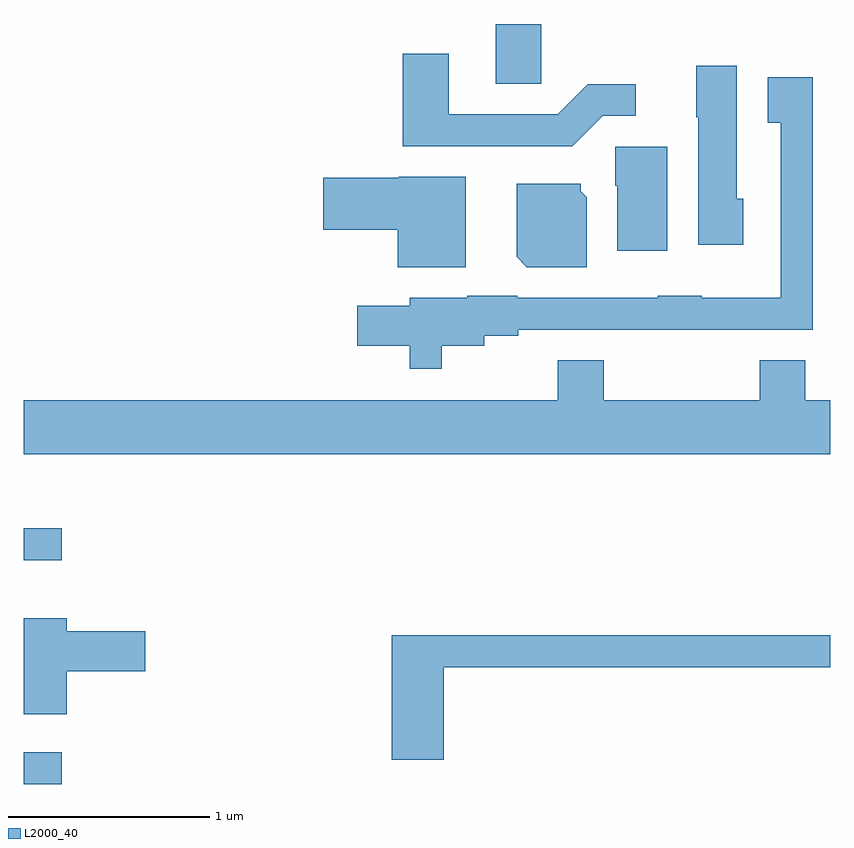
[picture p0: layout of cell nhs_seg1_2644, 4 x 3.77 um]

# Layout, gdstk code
import gdstk
lib = gdstk.Library(unit=1e-6, precision=1e-09)
def R(c, l, rs):  # rectangles x0, y0, x1, y1
    for r in rs: c.add(gdstk.rectangle(r[:2], r[2:], *l))
def P(c, l, *ps):  # polygons
    for p in ps: c.add(gdstk.Polygon(p, *l))
L2000_40 = (2000, 40)

nhs_seg1_2644 = lib.new_cell('nhs_seg1_2644')
R(nhs_seg1_2644, L2000_40, [(265.611,897.941,265.798,898.099), (265.611,899.051,265.798,899.209), (267.951,901.416,268.179,901.712)])
P(nhs_seg1_2644, L2000_40, [(268.482,901.256),(268.648,901.256),(268.648,901.414),(268.409,901.414),(268.259,901.264),(267.719,901.264),(267.719,901.564),(267.491,901.564),(267.491,901.106),(268.332,901.106)],
  [(269.179,900.844),(269.149,900.844),(269.149,901.504),(268.946,901.504),(268.946,901.25),(268.956,901.25),(268.956,900.616),(269.179,900.616)],
  [(267.684,900.116),(267.894,900.116),(267.894,900.166),(268.064,900.166),(268.064,900.196),(269.524,900.196),(269.524,901.449),(269.301,901.449),(269.301,901.221),(269.366,901.221),(269.366,900.354),(268.975,900.354),(268.975,900.364),(268.755,900.364),(268.755,900.354),(268.06,900.354),(268.06,900.364),(267.81,900.364),(267.81,900.354),(267.526,900.354),(267.526,900.314),(267.266,900.314),(267.266,900.116),(267.526,900.116),(267.526,900.001),(267.684,900.001)],
  [(268.804,901.104),(268.546,901.104),(268.546,900.91),(268.556,900.91),(268.556,900.586),(268.804,900.586)],
  [(267.804,900.954),(267.47,900.954),(267.47,900.949),(267.096,900.949),(267.096,900.691),(267.466,900.691),(267.466,900.506),(267.804,900.506)],
  [(268.404,900.852),(268.374,900.882),(268.374,900.919),(268.056,900.919),(268.056,900.557),(268.107,900.506),(268.404,900.506)],
  [(269.611,899.844),(269.489,899.844),(269.489,900.044),(269.261,900.044),(269.261,899.844),(268.489,899.844),(268.489,900.044),(268.261,900.044),(268.261,899.844),(265.611,899.844),(265.611,899.576),(269.611,899.576)],
  [(265.824,898.501),(266.214,898.501),(266.214,898.699),(265.824,898.699),(265.824,898.764),(265.611,898.764),(265.611,898.286),(265.824,898.286)],
  [(267.694,898.521),(269.611,898.521),(269.611,898.679),(267.436,898.679),(267.436,898.061),(267.694,898.061)])

lib.write_gds('nhs_seg1_2644.gds')
